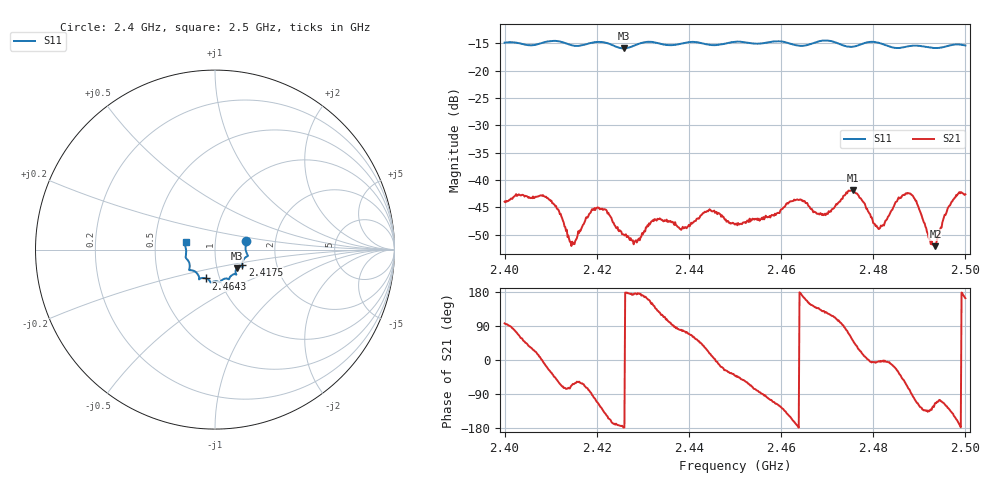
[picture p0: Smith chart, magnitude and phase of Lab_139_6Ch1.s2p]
# Hz S RI R 50
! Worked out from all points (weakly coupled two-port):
!   601 points, 2.4 GHz to 2.5 GHz, reference 50 ohm
!   highest |S21| = -41.78 dB at 2.4755 GHz (marker M1); lowest = -52.1 dB at 2.4935 GHz (marker M2)
!   lowest |S11| = -15.9 dB at 2.4258 GHz (marker M3), VSWR 1.38, Z = 62.3 - j13.2 ohm
!   |S11| at or under -10 dB: start of sweep to end of sweep
!   S12 and S22 are empty: the file has one direction only
!   S11 on the Smith chart (normalised r, x): 2.4 GHz: 1.41, +0.14; 2.4175 GHz: 1.33, -0.23; 2.4643 GHz: 0.86, -0.28; 2.5 GHz: 0.72, +0.06
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2.4e9  0.1733 0.0489  -0.000737 0.00631  0 0  0 0
2.4085e9  0.1793 -0.0251  0.00709 -0.000955  0 0  0 0
2.414667e9  0.1619 -0.0516  0.00115 -0.00249  0 0  0 0
2.416667e9  0.1527 -0.0741  0.00171 -0.00319  0 0  0 0
2.4175e9  0.1517 -0.0835  0.00146 -0.00402  0 0  0 0
2.421667e9  0.1533 -0.0959  -0.00409 -0.00355  0 0  0 0
2.425833e9  0.1219 -0.1032  -0.00319 -8.77e-05  0 0  0 0
2.4285e9  0.1147 -0.1279  -0.00281 0.000234  0 0  0 0
2.433333e9  0.1135 -0.1371  -0.00278 0.0034  0 0  0 0
2.4385e9  0.081 -0.1573  0.000838 0.00352  0 0  0 0
2.444833e9  0.0573 -0.1613  0.00516 0.00111  0 0  0 0
2.45e9  0.0285 -0.1814  0.00294 -0.00259  0 0  0 0
2.464333e9  -0.05 -0.1607  -0.0066 0.000625  0 0  0 0
2.466667e9  -0.0765 -0.1589  -0.00446 0.00312  0 0  0 0
2.469667e9  -0.089 -0.1662  -0.00283 0.00385  0 0  0 0
2.4755e9  -0.1111 -0.1221  0.00489 0.00652  0 0  0 0
2.481e9  -0.1434 -0.1092  0.00366 -0.000261  0 0  0 0
2.483333e9  -0.1406 -0.0898  0.00466 -0.000514  0 0  0 0
2.488e9  -0.1605 -0.0493  0.0011 -0.00747  0 0  0 0
2.4935e9  -0.1603 -0.00777  -0.000977 -0.00229  0 0  0 0
2.496667e9  -0.1682 0.0253  -0.00401 -0.00429  0 0  0 0
2.5e9  -0.1641 0.0424  -0.00709 0.00218  0 0  0 0
